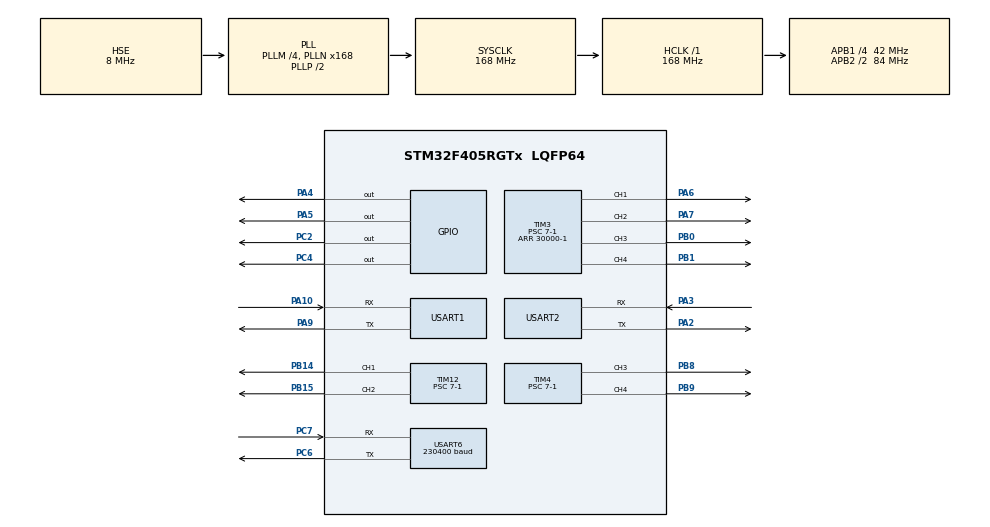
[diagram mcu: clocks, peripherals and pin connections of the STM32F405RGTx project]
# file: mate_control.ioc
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Dma.Request0=USART1_RX
Dma.Request1=USART6_RX
Dma.USART1_RX.0.Direction=DMA_PERIPH_TO_MEMORY
Dma.USART1_RX.0.FIFOMode=DMA_FIFOMODE_DISABLE
Dma.USART1_RX.0.Instance=DMA2_Stream2
Dma.USART1_RX.0.MemDataAlignment=DMA_MDATAALIGN_BYTE
Dma.USART1_RX.0.MemInc=DMA_MINC_ENABLE
Dma.USART1_RX.0.Mode=DMA_CIRCULAR
Dma.USART1_RX.0.PeriphDataAlignment=DMA_PDATAALIGN_BYTE
Dma.USART1_RX.0.PeriphInc=DMA_PINC_DISABLE
Dma.USART1_RX.0.Priority=DMA_PRIORITY_VERY_HIGH
Dma.USART6_RX.1.Direction=DMA_PERIPH_TO_MEMORY
Dma.USART6_RX.1.FIFOMode=DMA_FIFOMODE_DISABLE
Dma.USART6_RX.1.Instance=DMA2_Stream1
Dma.USART6_RX.1.MemDataAlignment=DMA_MDATAALIGN_BYTE
Dma.USART6_RX.1.MemInc=DMA_MINC_ENABLE
Dma.USART6_RX.1.Mode=DMA_CIRCULAR
Dma.USART6_RX.1.PeriphDataAlignment=DMA_PDATAALIGN_BYTE
Dma.USART6_RX.1.PeriphInc=DMA_PINC_DISABLE
Dma.USART6_RX.1.Priority=DMA_PRIORITY_HIGH
FREERTOS.Tasks01=test,40,128,Test,Default,NULL,Dynamic,NULL,NULL;AttitudeControl,32,2000,Attitude_Control,Default,NULL,Dynamic,NULL,NULL;USART1Check,40,128,Usart1_Check,Default,NULL,Dynamic,NULL,NULL;USARTStart,8,128,USART_Start,Default,NULL,Dynamic,NULL,NULL
FREERTOS.configUSE_STATS_FORMATTING_FUNCTIONS=1
Mcu.Family=STM32F4
Mcu.Name=STM32F405RGTx
Mcu.Package=LQFP64
NVIC.DMA2_Stream1_IRQn=true\:5\:0\:false\:false\:true\:true\:false\:true\:true
NVIC.DMA2_Stream2_IRQn=true\:5\:0\:false\:false\:true\:true\:false\:true\:true
NVIC.PriorityGroup=NVIC_PRIORITYGROUP_4
NVIC.TIM2_IRQn=true\:4\:0\:true\:false\:true\:false\:true\:true\:true
NVIC.TIM6_DAC_IRQn=true\:15\:0\:false\:false\:true\:false\:false\:true\:true
NVIC.TimeBase=TIM6_DAC_IRQn
NVIC.TimeBaseIP=TIM6
NVIC.USART1_IRQn=true\:5\:0\:true\:false\:true\:true\:true\:true\:true
NVIC.USART6_IRQn=true\:6\:0\:true\:false\:true\:true\:true\:true\:true
PA10.Mode=Asynchronous
PA10.Signal=USART1_RX
PA13.Mode=Serial_Wire
PA13.Signal=SYS_JTMS-SWDIO
PA14.Mode=Serial_Wire
PA14.Signal=SYS_JTCK-SWCLK
PA2.Mode=Asynchronous
PA2.Signal=USART2_TX
PA3.Mode=Asynchronous
PA3.Signal=USART2_RX
PA4.GPIO_Speed=GPIO_SPEED_FREQ_HIGH
PA4.Signal=GPIO_Output
PA5.GPIO_Speed=GPIO_SPEED_FREQ_HIGH
PA5.Signal=GPIO_Output
PA6.Signal=S_TIM3_CH1
PA7.Signal=S_TIM3_CH2
PA9.Mode=Asynchronous
PA9.Signal=USART1_TX
PB0.Signal=S_TIM3_CH3
PB1.Signal=S_TIM3_CH4
PB14.Signal=S_TIM12_CH1
PB15.Signal=S_TIM12_CH2
PB8.Signal=S_TIM4_CH3
PB9.Signal=S_TIM4_CH4
PC2.GPIO_ModeDefaultOutputPP=GPIO_MODE_OUTPUT_PP
PC2.GPIO_PuPd=GPIO_NOPULL
PC2.GPIO_Speed=GPIO_SPEED_FREQ_HIGH
PC2.PinState=GPIO_PIN_SET
PC2.Signal=GPIO_Output
PC4.GPIO_Speed=GPIO_SPEED_FREQ_HIGH
PC4.Signal=GPIO_Output
PC6.Mode=Asynchronous
PC6.Signal=USART6_TX
PC7.Mode=Asynchronous
PC7.Signal=USART6_RX
PH0-OSC_IN.Mode=HSE-External-Oscillator
PH0-OSC_IN.Signal=RCC_OSC_IN
PH1-OSC_OUT.Mode=HSE-External-Oscillator
PH1-OSC_OUT.Signal=RCC_OSC_OUT
ProjectManager.HeapSize=0x200
ProjectManager.StackSize=0x400
ProjectManager.TargetToolchain=MDK-ARM V5.32
RCC.48MHZClocksFreq_Value=84000000
RCC.AHBFreq_Value=168000000
RCC.APB1CLKDivider=RCC_HCLK_DIV4
RCC.APB1Freq_Value=42000000
RCC.APB1TimFreq_Value=84000000
RCC.APB2CLKDivider=RCC_HCLK_DIV2
RCC.APB2Freq_Value=84000000
RCC.APB2TimFreq_Value=168000000
RCC.CortexFreq_Value=168000000
RCC.HCLKFreq_Value=168000000
RCC.HSE_VALUE=8000000
RCC.HSI_VALUE=16000000
RCC.LSE_VALUE=32768
RCC.PLLM=4
RCC.PLLN=168
RCC.PLLSourceVirtual=RCC_PLLSOURCE_HSE
RCC.SYSCLKFreq_VALUE=168000000
RCC.SYSCLKSource=RCC_SYSCLKSOURCE_PLLCLK
RCC.VCOOutputFreq_Value=336000000
SH.S_TIM12_CH1.0=TIM12_CH1,PWM Generation1 CH1
SH.S_TIM12_CH2.0=TIM12_CH2,PWM Generation2 CH2
SH.S_TIM3_CH1.0=TIM3_CH1,PWM Generation1 CH1
SH.S_TIM3_CH2.0=TIM3_CH2,PWM Generation2 CH2
SH.S_TIM3_CH3.0=TIM3_CH3,PWM Generation3 CH3
SH.S_TIM3_CH4.0=TIM3_CH4,PWM Generation4 CH4
SH.S_TIM4_CH3.0=TIM4_CH3,PWM Generation3 CH3
SH.S_TIM4_CH4.0=TIM4_CH4,PWM Generation4 CH4
TIM12.AutoReloadPreload=TIM_AUTORELOAD_PRELOAD_ENABLE
TIM12.Channel-PWM\ Generation1\ CH1=TIM_CHANNEL_1
TIM12.Channel-PWM\ Generation2\ CH2=TIM_CHANNEL_2
TIM12.OC1Preload_PWM=DISABLE
TIM12.OC2Preload_PWM=DISABLE
TIM12.Period=30000-1
TIM12.Prescaler=7-1
TIM12.Pulse-PWM\ Generation1\ CH1=2250
TIM12.Pulse-PWM\ Generation2\ CH2=2250
TIM2.AutoReloadPreload=TIM_AUTORELOAD_PRELOAD_ENABLE
TIM2.Period=9
TIM2.Prescaler=83
TIM3.AutoReloadPreload=TIM_AUTORELOAD_PRELOAD_ENABLE
TIM3.Channel-PWM\ Generation1\ CH1=TIM_CHANNEL_1
TIM3.Channel-PWM\ Generation2\ CH2=TIM_CHANNEL_2
TIM3.Channel-PWM\ Generation3\ CH3=TIM_CHANNEL_3
TIM3.Channel-PWM\ Generation4\ CH4=TIM_CHANNEL_4
TIM3.OC1Preload_PWM=DISABLE
TIM3.OC2Preload_PWM=DISABLE
TIM3.OC3Preload_PWM=DISABLE
TIM3.OC4Preload_PWM=DISABLE
TIM3.Period=30000-1
TIM3.Prescaler=7-1
TIM3.Pulse-PWM\ Generation1\ CH1=2250
TIM3.Pulse-PWM\ Generation2\ CH2=2250
TIM3.Pulse-PWM\ Generation3\ CH3=2250
TIM3.Pulse-PWM\ Generation4\ CH4=2250
TIM4.AutoReloadPreload=TIM_AUTORELOAD_PRELOAD_ENABLE
TIM4.Channel-PWM\ Generation3\ CH3=TIM_CHANNEL_3
TIM4.Channel-PWM\ Generation4\ CH4=TIM_CHANNEL_4
TIM4.OC3Preload_PWM=DISABLE
TIM4.OC4Preload_PWM=DISABLE
TIM4.Period=30000-1
TIM4.Prescaler=7-1
TIM4.Pulse-PWM\ Generation3\ CH3=2250
TIM4.Pulse-PWM\ Generation4\ CH4=2250
USART1.VirtualMode=VM_ASYNC
USART2.VirtualMode=VM_ASYNC
USART6.BaudRate=230400
USART6.VirtualMode=VM_ASYNC
VP_FREERTOS_VS_CMSIS_V2.Mode=CMSIS_V2
VP_SYS_VS_tim6.Mode=TIM6
VP_TIM2_VS_ClockSourceINT.Mode=Internal
board=custom

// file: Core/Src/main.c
/* USER CODE BEGIN Header */
/**
  ******************************************************************************
  * @file           : main.c
  * @brief          : Main program body
  ******************************************************************************
  * @attention
  *
  * Copyright (c) 2024 STMicroelectronics.
  * All rights reserved.
  *
  * This software is licensed under terms that can be found in the LICENSE file
  * in the root directory of this software component.
  * If no LICENSE file comes with this software, it is provided AS-IS.
  *
  ******************************************************************************
  */
/* USER CODE END Header */
#include "main.h"
#include "cmsis_os.h"
#include "dma.h"
#include "tim.h"
#include "usart.h"
#include "gpio.h"

void SystemClock_Config(void);
void MX_FREERTOS_Init(void);
/* USER CODE BEGIN PFP */
static void WaitForPowerOn(void);
/* USER CODE END PFP */

int main(void)
{

  /* USER CODE BEGIN 1 */
  WaitForPowerOn();
  /* USER CODE END 1 */

  /* MCU Configuration--------------------------------------------------------*/

  /* Reset of all peripherals, Initializes the Flash interface and the Systick. */
  HAL_Init();

  /* Configure the system clock */
  SystemClock_Config();

  /* Initialize all configured peripherals */
  MX_GPIO_Init();
  MX_DMA_Init();
  MX_USART2_UART_Init();
  MX_TIM12_Init();
  MX_TIM3_Init();
  MX_TIM4_Init();
  MX_USART1_UART_Init();
  MX_USART6_UART_Init();
  MX_TIM2_Init();
  /* USER CODE BEGIN 2 */

 HAL_TIM_Base_Start_IT(&htim2);

  /* USER CODE END 2 */

  /* Init scheduler */
  osKernelInitialize();

  /* Call init function for freertos objects (in cmsis_os2.c) */
  MX_FREERTOS_Init();

  /* Start scheduler */
  osKernelStart();

  /* We should never get here as control is now taken by the scheduler */

  /* Infinite loop */
  while (1)
  {

  }
}

void SystemClock_Config(void)
{
  RCC_OscInitTypeDef RCC_OscInitStruct = {0};
  RCC_ClkInitTypeDef RCC_ClkInitStruct = {0};

  /** Configure the main internal regulator output voltage
  */
  __HAL_RCC_PWR_CLK_ENABLE();
  __HAL_PWR_VOLTAGESCALING_CONFIG(PWR_REGULATOR_VOLTAGE_SCALE1);

  /** Initializes the RCC Oscillators according to the specified parameters
  * in the RCC_OscInitTypeDef structure.
  */
  RCC_OscInitStruct.OscillatorType = RCC_OSCILLATORTYPE_HSE;
  RCC_OscInitStruct.HSEState = RCC_HSE_ON;
  RCC_OscInitStruct.PLL.PLLState = RCC_PLL_ON;
  RCC_OscInitStruct.PLL.PLLSource = RCC_PLLSOURCE_HSE;
  RCC_OscInitStruct.PLL.PLLM = 4;
  RCC_OscInitStruct.PLL.PLLN = 168;
  RCC_OscInitStruct.PLL.PLLP = RCC_PLLP_DIV2;
  RCC_OscInitStruct.PLL.PLLQ = 4;
  if (HAL_RCC_OscConfig(&RCC_OscInitStruct) != HAL_OK)
  {
    Error_Handler();
  }

  /** Initializes the CPU, AHB and APB buses clocks
  */
  RCC_ClkInitStruct.ClockType = RCC_CLOCKTYPE_HCLK|RCC_CLOCKTYPE_SYSCLK
                              |RCC_CLOCKTYPE_PCLK1|RCC_CLOCKTYPE_PCLK2;
  RCC_ClkInitStruct.SYSCLKSource = RCC_SYSCLKSOURCE_PLLCLK;
  RCC_ClkInitStruct.AHBCLKDivider = RCC_SYSCLK_DIV1;
  RCC_ClkInitStruct.APB1CLKDivider = RCC_HCLK_DIV4;
  RCC_ClkInitStruct.APB2CLKDivider = RCC_HCLK_DIV2;

  if (HAL_RCC_ClockConfig(&RCC_ClkInitStruct, FLASH_LATENCY_5) != HAL_OK)
  {
    Error_Handler();
  }
}

/* USER CODE BEGIN 4 */

static void WaitForPowerOn(void)
{
  uint32_t i = 1000000;
  while(i--);
}
/* USER CODE END 4 */

void HAL_TIM_PeriodElapsedCallback(TIM_HandleTypeDef *htim)
{
  if (htim->Instance == TIM6) {
    HAL_IncTick();
  }
}

void Error_Handler(void)
{
  __disable_irq();
  while (1)
  {
  }
}

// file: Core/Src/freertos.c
/* USER CODE BEGIN Header */
/**
  ******************************************************************************
  * File Name          : freertos.c
  * Description        : Code for freertos applications
  ******************************************************************************
  * @attention
  *
  * Copyright (c) 2024 STMicroelectronics.
  * All rights reserved.
  *
  * This software is licensed under terms that can be found in the LICENSE file
  * in the root directory of this software component.
  * If no LICENSE file comes with this software, it is provided AS-IS.
  *
  ******************************************************************************
  */
/* USER CODE END Header */

#include "FreeRTOS.h"
#include "task.h"
#include "main.h"
#include "cmsis_os.h"

/* USER CODE BEGIN Includes */
#include "./wit_c_sdk.h"
#include "tim.h"
#include "./attitude.h"
#include "./state_control_type.h"
#include "./motor_control.h"
#include "./state_control.h"
#include "./ratetype.h"
#include "./led.h"
#include "stm32f4xx_it.h"
#include "usart.h"
#include "stm32f4xx_it.h"
#include "dma.h"
#include "./rc_command.h"
/* USER CODE END Includes */

/* USER CODE BEGIN PD */

#define USART1CHECKTURE  0x0001     //串口1没有断联
#define USART1CHECKERRO  0x0000     //串口1断联

/* USER CODE END PD */

/* USER CODE BEGIN Variables */

sensor_data_t sensor_data;
angle_expect_t angle_expect;
control_t control;
rc_translation_t rc_translation;

uint16_t usart1count_temp[3] = {0};

/* USER CODE END Variables */
/* Definitions for test */
osThreadId_t testHandle;
const osThreadAttr_t test_attributes = {
  .name = "test",
  .stack_size = 128 * 4,
  .priority = (osPriority_t) osPriorityHigh,
};
/* Definitions for AttitudeControl */
osThreadId_t AttitudeControlHandle;
const osThreadAttr_t AttitudeControl_attributes = {
  .name = "AttitudeControl",
  .stack_size = 2000 * 4,
  .priority = (osPriority_t) osPriorityAboveNormal,
};
/* Definitions for USART1Check */
osThreadId_t USART1CheckHandle;
const osThreadAttr_t USART1Check_attributes = {
  .name = "USART1Check",
  .stack_size = 128 * 4,
  .priority = (osPriority_t) osPriorityHigh,
};
/* Definitions for USARTStart */
osThreadId_t USARTStartHandle;
const osThreadAttr_t USARTStart_attributes = {
  .name = "USARTStart",
  .stack_size = 128 * 4,
  .priority = (osPriority_t) osPriorityLow,
};

/* USER CODE BEGIN FunctionPrototypes */

static void AllPeripheral_Init(void);

/* USER CODE END FunctionPrototypes */

void Test(void *argument);
void Attitude_Control(void *argument);
void Usart1_Check(void *argument);
void USART_Start(void *argument);

void MX_FREERTOS_Init(void); /* (MISRA C 2004 rule 8.1) */

void MX_FREERTOS_Init(void) {
  /* USER CODE BEGIN Init */
  AllPeripheral_Init();
  /* USER CODE END Init */

  /* Create the thread(s) */
  /* creation of test */
  testHandle = osThreadNew(Test, NULL, &test_attributes);

  /* creation of AttitudeControl */
  AttitudeControlHandle = osThreadNew(Attitude_Control, NULL, &AttitudeControl_attributes);

  /* creation of USART1Check */
  USART1CheckHandle = osThreadNew(Usart1_Check, NULL, &USART1Check_attributes);

  /* creation of USARTStart */
  USARTStartHandle = osThreadNew(USART_Start, NULL, &USARTStart_attributes);

}

void Test(void *argument)
{
  /* USER CODE BEGIN Test */
  /* Infinite loop */
  for(;;)
  {
    osDelay(5);
  }
  /* USER CODE END Test */
}

void Attitude_Control(void *argument)
{
  /* USER CODE BEGIN Attitude_Control */
  uint32_t tick = 0;
	uint32_t lastWakeTime = osKernelGetTickCount();
  /* Infinite loop */
  for(;;)
  {
    vTaskDelayUntil(&lastWakeTime, 1);
    {
    	if(RATE_DO_EXECUTE(_1000_HZ,tick))
			  Get_Attitude_Update(&sensor_data);
			RC_CommandRecive(&rc_translation);
			State_Control(&sensor_data,&angle_expect,&rc_translation,&control,tick);
			if(RATE_DO_EXECUTE(_500_HZ,tick))
      {
        if(usart1count_temp[2] == USART1CHECKTURE)
          Motor_Control(&control,&rc_translation,MATE_AUTO);
        if(usart1count_temp[2] == USART1CHECKERRO)
          Motor_LostProtect();
      }
    }
  //  if(tick >= 5000)
  //  {
	// 	  // htim12.Instance->CCR1 = MINTHROTTLE;
	// 		//  htim12.Instance->CCR2 = MAXTHROTTLE_LIMIT;
  //     //  htim3.Instance->CCR4 = MAXTHROTTLE_LIMIT;
	// 		//  htim3.Instance->CCR3= MAXTHROTTLE_LIMIT;
  //     //  htim3.Instance->CCR2= MAXTHROTTLE_LIMIT;
	// 		//  htim3.Instance->CCR1= MAXTHROTTLE_LIMIT;
	// 		//  htim4.Instance->CCR3= MAXTHROTTLE_LIMIT;
	// 		//  htim4.Instance->CCR4= MAXTHROTTLE_LIMIT;
  //  }
    tick++;
  }
  /* USER CODE END Attitude_Control */
}

void Usart1_Check(void *argument)
{
  /* USER CODE BEGIN Usart1_Check */
  uint32_t tick = 0;
	uint32_t lastWakeTime = osKernelGetTickCount();
  /* Infinite loop */
  for(;;)
  {
    vTaskDelayUntil(&lastWakeTime, 20);
    if(RATE_DO_EXECUTE(_50_HZ,tick))
      usart1count_temp[0] = GetUsart1Count();
    if(RATE_DO_EXECUTE(_10_HZ,tick))
      usart1count_temp[1] = GetUsart1Count();
    if(usart1count_temp[1] == usart1count_temp[0] && tick%50 != 0)
      usart1count_temp[2] = USART1CHECKERRO;
    if(usart1count_temp[1] != usart1count_temp[0])
      usart1count_temp[2] = USART1CHECKTURE;
    if(rc_translation.botton/2 % 2 )
      RobLightOn();
    if(rc_translation.botton/2/2/2/2/2/2%2)
      GetServoAngle(SERVO_MIN);
    if(rc_translation.botton/2 % 2 == 0)
      RobLightOff();
    if(rc_translation.botton/2/2/2/2/2/2%2 == 0)
      GetServoAngle(SERVO_MIDDLE);
    tick = tick + 20;
  }
  /* USER CODE END Usart1_Check */
}

void USART_Start(void *argument)
{
  /* USER CODE BEGIN USART_Start */
  /* Infinite loop */
  for(;;)
  {
    __HAL_UART_ENABLE_IT(&huart1, UART_IT_IDLE);
    __HAL_UART_ENABLE_IT(&huart6, UART_IT_IDLE);
    HAL_UART_Receive_DMA(&huart1,aRxBuffer,24);
    HAL_UART_Receive_DMA(&huart6,usart6_rxdata, 44);
    RobLightOff();
    GetServoAngle(SERVO_MIDDLE);
		osThreadTerminate(USARTStartHandle);
  }
  /* USER CODE END USART_Start */
}

/* USER CODE BEGIN Application */

//
static void AllPeripheral_Init()
{
  Wit_Sensor_Init();
  Motor_Init();
  PID_Init();
	Ascii_ChangeFuc_Init();
  angle_expect.pitch = 0;
  angle_expect.roll = 0;
  angle_expect.yaw = 0;
}

/* USER CODE END Application */
